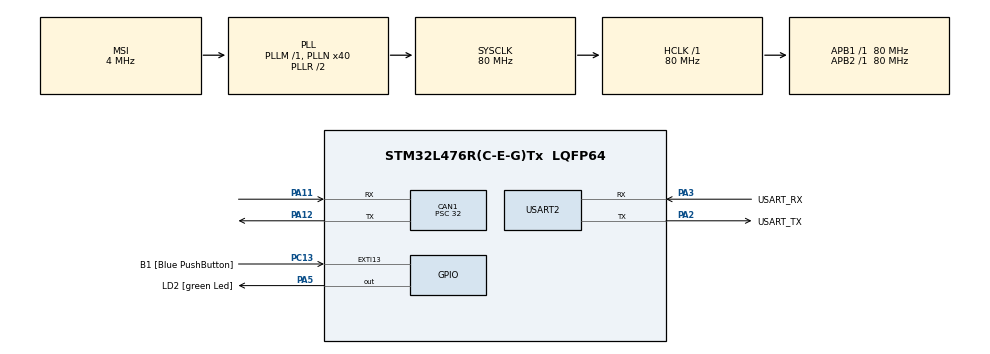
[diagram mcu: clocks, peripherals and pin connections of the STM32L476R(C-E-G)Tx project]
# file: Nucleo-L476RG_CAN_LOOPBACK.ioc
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CAN1.BS1=CAN_BS1_2TQ
CAN1.BS2=CAN_BS2_2TQ
CAN1.CalculateBaudRate=500000
CAN1.CalculateTimeBit=2000
CAN1.CalculateTimeQuantum=400.0
CAN1.Mode=CAN_MODE_LOOPBACK
CAN1.Prescaler=32
Mcu.Family=STM32L4
Mcu.Name=STM32L476R(C-E-G)Tx
Mcu.Package=LQFP64
NVIC.CAN1_RX0_IRQn=true\:0\:0\:false\:false\:true\:true\:true\:true
NVIC.CAN1_RX1_IRQn=true\:0\:0\:false\:false\:true\:true\:true\:true
NVIC.PriorityGroup=NVIC_PRIORITYGROUP_4
PA11.Mode=CAN_Activate
PA11.Signal=CAN1_RX
PA12.Mode=CAN_Activate
PA12.Signal=CAN1_TX
PA13\ (JTMS-SWDIO).GPIO_Label=TMS
PA13\ (JTMS-SWDIO).Mode=Serial_Wire
PA13\ (JTMS-SWDIO).Signal=SYS_JTMS-SWDIO
PA14\ (JTCK-SWCLK).GPIO_Label=TCK
PA14\ (JTCK-SWCLK).Mode=Serial_Wire
PA14\ (JTCK-SWCLK).Signal=SYS_JTCK-SWCLK
PA2.GPIO_Label=USART_TX
PA2.GPIO_Mode=GPIO_MODE_AF_PP
PA2.GPIO_PuPd=GPIO_NOPULL
PA2.GPIO_Speed=GPIO_SPEED_FREQ_VERY_HIGH
PA2.Mode=Asynchronous
PA2.Signal=USART2_TX
PA3.GPIO_Label=USART_RX
PA3.GPIO_Mode=GPIO_MODE_AF_PP
PA3.GPIO_PuPd=GPIO_NOPULL
PA3.GPIO_Speed=GPIO_SPEED_FREQ_VERY_HIGH
PA3.Mode=Asynchronous
PA3.Signal=USART2_RX
PA5.GPIO_Label=LD2 [green Led]
PA5.GPIO_ModeDefaultOutputPP=GPIO_MODE_OUTPUT_PP
PA5.GPIO_PuPd=GPIO_NOPULL
PA5.GPIO_Speed=GPIO_SPEED_FREQ_LOW
PA5.Signal=GPIO_Output
PB3\ (JTDO-TRACESWO).GPIO_Label=SWO
PB3\ (JTDO-TRACESWO).Signal=SYS_JTDO-SWO
PC13.GPIO_Label=B1 [Blue PushButton]
PC13.GPIO_ModeDefaultEXTI=GPIO_MODE_IT_FALLING
PC13.GPIO_PuPd=GPIO_NOPULL
PC13.Signal=GPXTI13
PC14-OSC32_IN\ (PC14).Mode=LSE-External-Oscillator
PC14-OSC32_IN\ (PC14).Signal=RCC_OSC32_IN
PC15-OSC32_OUT\ (PC15).Mode=LSE-External-Oscillator
PC15-OSC32_OUT\ (PC15).Signal=RCC_OSC32_OUT
PH0-OSC_IN\ (PH0).Signal=RCC_OSC_IN
PH1-OSC_OUT\ (PH1).Signal=RCC_OSC_OUT
ProjectManager.HeapSize=0x200
ProjectManager.StackSize=0x400
ProjectManager.TargetToolchain=STM32CubeIDE
RCC.ADCFreq_Value=16000000
RCC.AHBFreq_Value=80000000
RCC.APB1Freq_Value=80000000
RCC.APB1TimFreq_Value=80000000
RCC.APB2Freq_Value=80000000
RCC.APB2TimFreq_Value=80000000
RCC.CortexFreq_Value=80000000
RCC.HCLKFreq_Value=80000000
RCC.HSE_VALUE=8000000
RCC.HSI_VALUE=16000000
RCC.MSI_VALUE=4000000
RCC.PLLN=40
RCC.PREFETCH_ENABLE=1
RCC.SYSCLKFreq_VALUE=80000000
RCC.SYSCLKSource=RCC_SYSCLKSOURCE_PLLCLK
RCC.USBFreq_Value=16000000
RCC.VCOOutputFreq_Value=160000000
USART2.VirtualMode-Asynchronous=VM_ASYNC
board=NUCLEO-L476RG

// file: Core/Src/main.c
/* USER CODE BEGIN Header */
/**
  ******************************************************************************
  * @file           : main.c
  * @brief          : Main program body
  ******************************************************************************
  * @attention
  *
  * Copyright (c) 2024 STMicroelectronics.
  * All rights reserved.
  *
  * This software is licensed under terms that can be found in the LICENSE file
  * in the root directory of this software component.
  * If no LICENSE file comes with this software, it is provided AS-IS.
  *
  ******************************************************************************
  */
/* USER CODE END Header */
#include "main.h"

CAN_HandleTypeDef hcan1;

UART_HandleTypeDef huart2;

void SystemClock_Config(void);
static void MX_GPIO_Init(void);
static void MX_USART2_UART_Init(void);
static void MX_CAN1_Init(void);

/* USER CODE BEGIN 0 */

CAN_TxHeaderTypeDef TxHeader;
CAN_RxHeaderTypeDef RxHeader;

uint32_t TxMailbox;

uint8_t TxData[8];
uint8_t RxData[8];

uint8_t count = 0;

void HAL_CAN_RxFifo0MsgPendingCallback(CAN_HandleTypeDef *hcan){
	HAL_CAN_GetRxMessage(hcan, CAN_RX_FIFO0, &RxHeader, RxData);
}

/* USER CODE END 0 */

int main(void)
{

  /* MCU Configuration--------------------------------------------------------*/

  /* Reset of all peripherals, Initializes the Flash interface and the Systick. */
  HAL_Init();

  /* Configure the system clock */
  SystemClock_Config();

  /* Initialize all configured peripherals */
  MX_GPIO_Init();
  MX_USART2_UART_Init();
  MX_CAN1_Init();
  /* USER CODE BEGIN 2 */

  HAL_CAN_Start(&hcan1);

  HAL_CAN_ActivateNotification(&hcan1, CAN_IT_RX_FIFO0_MSG_PENDING);

  TxHeader.DLC = 1;
  TxHeader.ExtId = 0;
  TxHeader.IDE = CAN_ID_STD;
  TxHeader.RTR = CAN_RTR_DATA;
  TxHeader.StdId = 0x103;
  TxHeader.TransmitGlobalTime = DISABLE;

  TxData[0] = 0xf3;

  HAL_CAN_AddTxMessage(&hcan1, &TxHeader, TxData, &TxMailbox);

  /* USER CODE END 2 */

  /* Infinite loop */
  while (1)
  {

  }
}

void SystemClock_Config(void)
{
  RCC_OscInitTypeDef RCC_OscInitStruct = {0};
  RCC_ClkInitTypeDef RCC_ClkInitStruct = {0};

  /** Configure the main internal regulator output voltage
  */
  if (HAL_PWREx_ControlVoltageScaling(PWR_REGULATOR_VOLTAGE_SCALE1) != HAL_OK)
  {
    Error_Handler();
  }

  /** Configure LSE Drive Capability
  */
  HAL_PWR_EnableBkUpAccess();
  __HAL_RCC_LSEDRIVE_CONFIG(RCC_LSEDRIVE_LOW);

  /** Initializes the RCC Oscillators according to the specified parameters
  * in the RCC_OscInitTypeDef structure.
  */
  RCC_OscInitStruct.OscillatorType = RCC_OSCILLATORTYPE_LSE|RCC_OSCILLATORTYPE_MSI;
  RCC_OscInitStruct.LSEState = RCC_LSE_ON;
  RCC_OscInitStruct.MSIState = RCC_MSI_ON;
  RCC_OscInitStruct.MSICalibrationValue = 0;
  RCC_OscInitStruct.MSIClockRange = RCC_MSIRANGE_6;
  RCC_OscInitStruct.PLL.PLLState = RCC_PLL_ON;
  RCC_OscInitStruct.PLL.PLLSource = RCC_PLLSOURCE_MSI;
  RCC_OscInitStruct.PLL.PLLM = 1;
  RCC_OscInitStruct.PLL.PLLN = 40;
  RCC_OscInitStruct.PLL.PLLP = RCC_PLLP_DIV7;
  RCC_OscInitStruct.PLL.PLLQ = RCC_PLLQ_DIV2;
  RCC_OscInitStruct.PLL.PLLR = RCC_PLLR_DIV2;
  if (HAL_RCC_OscConfig(&RCC_OscInitStruct) != HAL_OK)
  {
    Error_Handler();
  }

  /** Initializes the CPU, AHB and APB buses clocks
  */
  RCC_ClkInitStruct.ClockType = RCC_CLOCKTYPE_HCLK|RCC_CLOCKTYPE_SYSCLK
                              |RCC_CLOCKTYPE_PCLK1|RCC_CLOCKTYPE_PCLK2;
  RCC_ClkInitStruct.SYSCLKSource = RCC_SYSCLKSOURCE_PLLCLK;
  RCC_ClkInitStruct.AHBCLKDivider = RCC_SYSCLK_DIV1;
  RCC_ClkInitStruct.APB1CLKDivider = RCC_HCLK_DIV1;
  RCC_ClkInitStruct.APB2CLKDivider = RCC_HCLK_DIV1;

  if (HAL_RCC_ClockConfig(&RCC_ClkInitStruct, FLASH_LATENCY_4) != HAL_OK)
  {
    Error_Handler();
  }

  /** Enable MSI Auto calibration
  */
  HAL_RCCEx_EnableMSIPLLMode();
}

static void MX_CAN1_Init(void)
{

  hcan1.Instance = CAN1;
  hcan1.Init.Prescaler = 32;
  hcan1.Init.Mode = CAN_MODE_LOOPBACK;
  hcan1.Init.SyncJumpWidth = CAN_SJW_1TQ;
  hcan1.Init.TimeSeg1 = CAN_BS1_2TQ;
  hcan1.Init.TimeSeg2 = CAN_BS2_2TQ;
  hcan1.Init.TimeTriggeredMode = DISABLE;
  hcan1.Init.AutoBusOff = DISABLE;
  hcan1.Init.AutoWakeUp = DISABLE;
  hcan1.Init.AutoRetransmission = DISABLE;
  hcan1.Init.ReceiveFifoLocked = DISABLE;
  hcan1.Init.TransmitFifoPriority = DISABLE;
  if (HAL_CAN_Init(&hcan1) != HAL_OK)
  {
    Error_Handler();
  }
  /* USER CODE BEGIN CAN1_Init 2 */

  CAN_FilterTypeDef canfilterconfig;

  canfilterconfig.FilterActivation = CAN_FILTER_ENABLE;
  canfilterconfig.FilterBank = 10;  // anything between 0 to SlaveStartFilterBank
  canfilterconfig.FilterFIFOAssignment = CAN_RX_FIFO0;
  canfilterconfig.FilterIdHigh = 0;
  canfilterconfig.FilterIdLow = 0x0000;
  canfilterconfig.FilterMaskIdHigh = 0;
  canfilterconfig.FilterMaskIdLow = 0x0000;
  canfilterconfig.FilterMode = CAN_FILTERMODE_IDMASK;
  canfilterconfig.FilterScale = CAN_FILTERSCALE_32BIT;
  canfilterconfig.SlaveStartFilterBank = 13;  // 13 to 27 are assigned to slave CAN (CAN 2) OR 0 to 12 are assgned to CAN1

  HAL_CAN_ConfigFilter(&hcan1, &canfilterconfig);

  /* USER CODE END CAN1_Init 2 */

}

static void MX_USART2_UART_Init(void)
{

  huart2.Instance = USART2;
  huart2.Init.BaudRate = 115200;
  huart2.Init.WordLength = UART_WORDLENGTH_8B;
  huart2.Init.StopBits = UART_STOPBITS_1;
  huart2.Init.Parity = UART_PARITY_NONE;
  huart2.Init.Mode = UART_MODE_TX_RX;
  huart2.Init.HwFlowCtl = UART_HWCONTROL_NONE;
  huart2.Init.OverSampling = UART_OVERSAMPLING_16;
  huart2.Init.OneBitSampling = UART_ONE_BIT_SAMPLE_DISABLE;
  huart2.AdvancedInit.AdvFeatureInit = UART_ADVFEATURE_NO_INIT;
  if (HAL_UART_Init(&huart2) != HAL_OK)
  {
    Error_Handler();
  }

}

static void MX_GPIO_Init(void)
{
  GPIO_InitTypeDef GPIO_InitStruct = {0};

  /* GPIO Ports Clock Enable */
  __HAL_RCC_GPIOC_CLK_ENABLE();
  __HAL_RCC_GPIOH_CLK_ENABLE();
  __HAL_RCC_GPIOA_CLK_ENABLE();
  __HAL_RCC_GPIOB_CLK_ENABLE();

  /*Configure GPIO pin Output Level */
  HAL_GPIO_WritePin(LD2_GPIO_Port, LD2_Pin, GPIO_PIN_RESET);

  /*Configure GPIO pin : B1_Pin */
  GPIO_InitStruct.Pin = B1_Pin;
  GPIO_InitStruct.Mode = GPIO_MODE_IT_FALLING;
  GPIO_InitStruct.Pull = GPIO_NOPULL;
  HAL_GPIO_Init(B1_GPIO_Port, &GPIO_InitStruct);

  /*Configure GPIO pin : LD2_Pin */
  GPIO_InitStruct.Pin = LD2_Pin;
  GPIO_InitStruct.Mode = GPIO_MODE_OUTPUT_PP;
  GPIO_InitStruct.Pull = GPIO_NOPULL;
  GPIO_InitStruct.Speed = GPIO_SPEED_FREQ_LOW;
  HAL_GPIO_Init(LD2_GPIO_Port, &GPIO_InitStruct);

}

void Error_Handler(void)
{
  __disable_irq();
  while (1)
  {
  }
}
